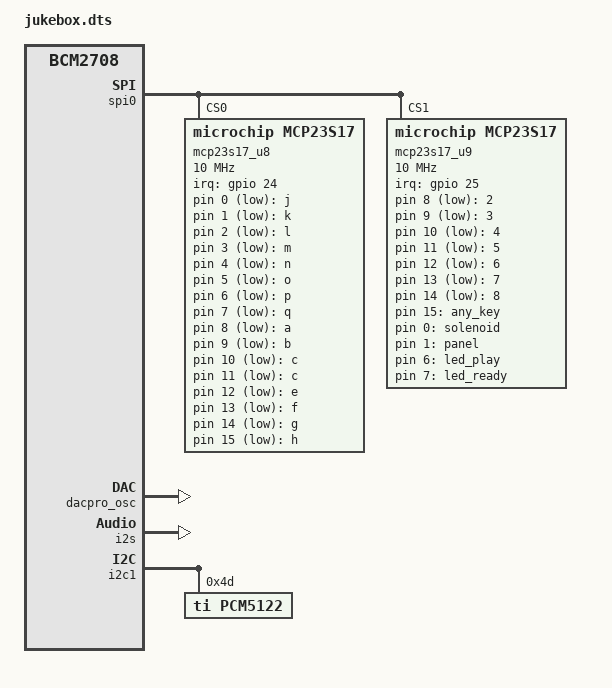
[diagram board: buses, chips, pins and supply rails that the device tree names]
/*
 * Device Tree overlay for MaZderMind's Jukebox
 *
 */

/dts-v1/;
/plugin/;
/{
	compatible = "brcm,bcm2708";

	fragment@0 {
		target = <&spi0>;
		__overlay__ {
			status = "okay";

			#address-cells = <1>;
			#size-cells = <0>;

			spidev@0{
				status = "disabled";
			};

			spidev@1{
				status = "disabled";
			};

			mcp23s17_u8: mcp23s17@0 {
				compatible = "microchip,mcp23s17";
				status = "okay";

				gpio-controller;
				#gpio-cells = <2>;

				interrupt-parent = <&gpio>;
				interrupts = <24 0x2>;
				interrupt-controller;
				microchip,irq-mirror;
				#interrupt-cells=<2>;

				microchip,spi-present-mask = <0x01>;
				reg = <0>;

				spi-max-frequency = <10000000>;

				pinctrl-names = "default";
				pinctrl-0 = <&u8_state_default>;

				u8_state_default: pinmux {
					pins = "gpio0", "gpio1", "gpio2", "gpio3",
					       "gpio4", "gpio5", "gpio6", "gpio7",
					       "gpio8", "gpio9", "gpio10", "gpio11",
					       "gpio12", "gpio13", "gpio14", "gpio15";

					bias-pull-up;
				};
			};

			mcp23s17_u9: mcp23s17@1 {
				compatible = "microchip,mcp23s17";
				status = "okay";

				gpio-controller;
				#gpio-cells = <2>;

				interrupt-parent = <&gpio>;
				interrupts = <25 0x2>;
				interrupt-controller;
				microchip,irq-mirror;
				#interrupt-cells=<2>;

				microchip,spi-present-mask = <0x01>;
				reg = <1>;

				spi-max-frequency = <10000000>;

				pinctrl-names = "default";
				pinctrl-0 = <&u9_state_default>;

				u9_state_default: pinmux {
					pins = "gpio8", "gpio9", "gpio10", "gpio11",
					       "gpio12", "gpio13", "gpio14", "gpio15";

					bias-pull-up;
				};
			};
		};
	};

	fragment@1 {
		target = <&leds>;
		__overlay__ {
			compatible = "gpio-leds";

			solenoid: solenoid {
				label = "solenoid";
				gpios = <&mcp23s17_u9 0 0>;
				default-state = "off";
			};
			panel: panel {
				label = "panel";
				gpios = <&mcp23s17_u9 1 0>;
				default-state = "off";
			};
			led_play: led_play {
				label = "led_play";
				gpios = <&mcp23s17_u9 6 0>;
				default-state = "off";
			};
			led_ready: led_ready {
				label = "led_ready";
				gpios = <&mcp23s17_u9 7 0>;
				default-state = "off";
			};
		};
	};

	fragment@2 {
		target-path = "/";
		__overlay__ {
			keypad: panel_keys {
				compatible = "gpio-keys";
				debounce-interval = "15"; /* Die alten Taster sind sehr Bouncy */
				#address-cells = <1>;
				#size-cells = <0>;

				button@2 {
					label = "2";
					linux,code = <3>;
					gpios = <&mcp23s17_u9 8 0x1>;
				};
				button@3 {
					label = "3";
					linux,code = <4>;
					gpios = <&mcp23s17_u9 9 0x1>;
				};
				button@4 {
					label = "4";
					linux,code = <5>;
					gpios = <&mcp23s17_u9 10 0x1>;
				};
				button@5 {
					label = "5";
					linux,code = <6>;
					gpios = <&mcp23s17_u9 11 0x1>;
				};
				button@6 {
					label = "6";
					linux,code = <7>;
					gpios = <&mcp23s17_u9 12 0x1>;
				};
				button@7 {
					label = "7";
					linux,code = <8>;
					gpios = <&mcp23s17_u9 13 0x1>;
				};
				button@8 {
					label = "8";
					linux,code = <9>;
					gpios = <&mcp23s17_u9 14 0x1>;
				};
				button@any_key {
					label = "any_key";
					linux,code = <11>; /* KEY_0 */
					gpios = <&mcp23s17_u9 15 0x0>; /* Active High */
				};

				button@j {
					label = "j";
					linux,code = <36>;
					gpios = <&mcp23s17_u8 0 0x1>;
				};
				button@k {
					label = "k";
					linux,code = <37>;
					gpios = <&mcp23s17_u8 1 0x1>;
				};
				button@l {
					label = "l";
					linux,code = <38>;
					gpios = <&mcp23s17_u8 2 0x1>;
				};
				button@m {
					label = "m";
					linux,code = <50>;
					gpios = <&mcp23s17_u8 3 0x1>;
				};
				button@n {
					label = "n";
					linux,code = <49>;
					gpios = <&mcp23s17_u8 4 0x1>;
				};
				button@o {
					label = "o";
					linux,code = <24>;
					gpios = <&mcp23s17_u8 5 0x1>;
				};
				button@p {
					label = "p";
					linux,code = <25>;
					gpios = <&mcp23s17_u8 6 0x1>;
				};
				button@q {
					label = "q";
					linux,code = <16>;
					gpios = <&mcp23s17_u8 7 0x1>;
				};

				button@a {
					label = "a";
					linux,code = <30>;
					gpios = <&mcp23s17_u8 8 0x1>;
				};
				button@b {
					label = "b";
					linux,code = <48>;
					gpios = <&mcp23s17_u8 9 0x1>;
				};
				button@c {
					label = "c";
					linux,code = <46>;
					gpios = <&mcp23s17_u8 10 0x1>;
				};
				button@d {
					label = "c";
					linux,code = <32>;
					gpios = <&mcp23s17_u8 11 0x1>;
				};
				button@e {
					label = "e";
					linux,code = <18>;
					gpios = <&mcp23s17_u8 12 0x1>;
				};
				button@f {
					label = "f";
					linux,code = <33>;
					gpios = <&mcp23s17_u8 13 0x1>;
				};
				button@g {
					label = "g";
					linux,code = <34>;
					gpios = <&mcp23s17_u8 14 0x1>;
				};
				button@h {
					label = "h";
					linux,code = <35>;
					gpios = <&mcp23s17_u8 15 0x1>;
				};
			};
		};
	};

	fragment@3 {
		target-path = "/clocks";
		__overlay__ {
			dacpro_osc: dacpro_osc {
				compatible = "hifiberry,dacpro-clk";
				#clock-cells = <0>;
			};
		};
	};

	fragment@4 {
		target = <&i2s>;
		__overlay__ {
			status = "okay";
		};
	};

	fragment@5 {
		target = <&i2c1>;
		__overlay__ {
			#address-cells = <1>;
			#size-cells = <0>;
			status = "okay";

			pcm5122@4d {
				#sound-dai-cells = <0>;
				compatible = "ti,pcm5122";
				reg = <0x4d>;
				clocks = <&dacpro_osc>;
				status = "okay";
			};
		};
	};

	fragment@6 {
		target = <&sound>;
		hifiberry_dacplus: __overlay__ {
			compatible = "hifiberry,hifiberry-dacplus";
			i2s-controller = <&i2s>;
			status = "okay";
		};
	};

	__overrides__ {
		24db_digital_gain =
			<&hifiberry_dacplus>,"hifiberry,24db_digital_gain?";
		slave = <&hifiberry_dacplus>,"hifiberry-dacplus,slave?";
	};
};
